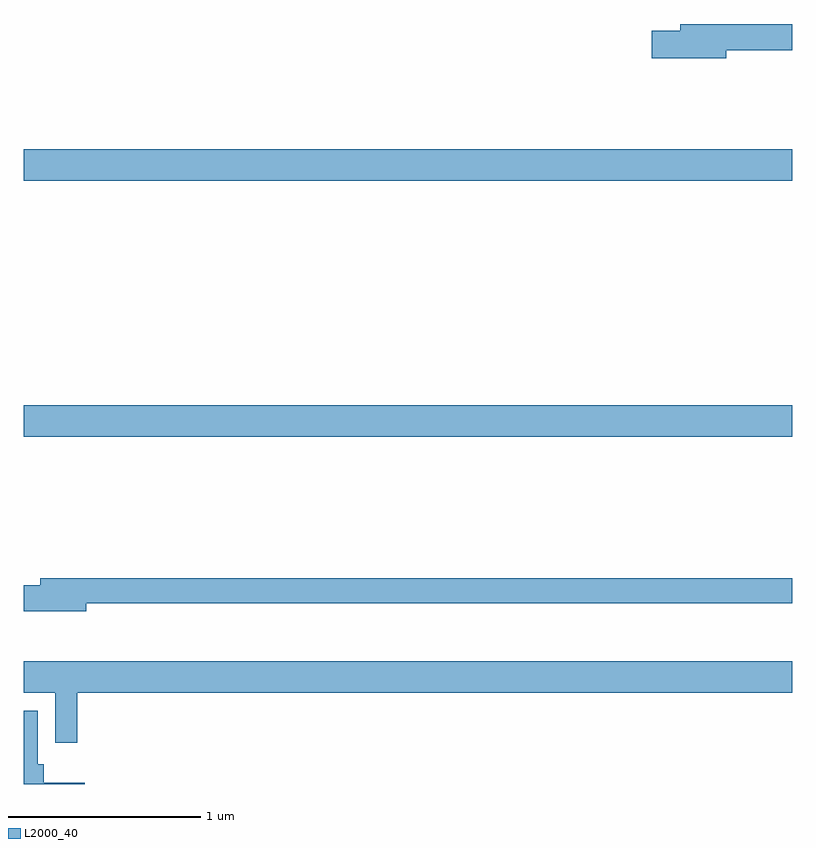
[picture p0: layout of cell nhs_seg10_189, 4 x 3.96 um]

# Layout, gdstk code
import gdstk
lib = gdstk.Library(unit=1e-6, precision=1e-09)
def R(c, l, rs):  # rectangles x0, y0, x1, y1
    for r in rs: c.add(gdstk.rectangle(r[:2], r[2:], *l))
def P(c, l, *ps):  # polygons
    for p in ps: c.add(gdstk.Polygon(p, *l))
L2000_40 = (2000, 40)

nhs_seg10_189 = lib.new_cell('nhs_seg10_189')
R(nhs_seg10_189, L2000_40, [(119,1308.308,123,1308.472), (119,1309.64,123,1309.804)])
P(nhs_seg10_189, L2000_40, [(122.656,1310.32),(123,1310.32),(123,1310.456),(122.417,1310.456),(122.417,1310.42),(122.268,1310.42),(122.268,1310.278),(122.656,1310.278)],
  [(119.326,1307.442),(123,1307.442),(123,1307.57),(119.087,1307.57),(119.087,1307.534),(119,1307.534),(119,1307.399),(119.326,1307.399)],
  [(119.279,1306.976),(123,1306.976),(123,1307.14),(119,1307.14),(119,1306.976),(119.163,1306.976),(119.163,1306.716),(119.279,1306.716)],
  [(119.317,1306.507),(119.105,1306.507),(119.105,1306.602),(119.074,1306.602),(119.074,1306.882),(119,1306.882),(119,1306.5),(119.317,1306.5)])

lib.write_gds('nhs_seg10_189.gds')
